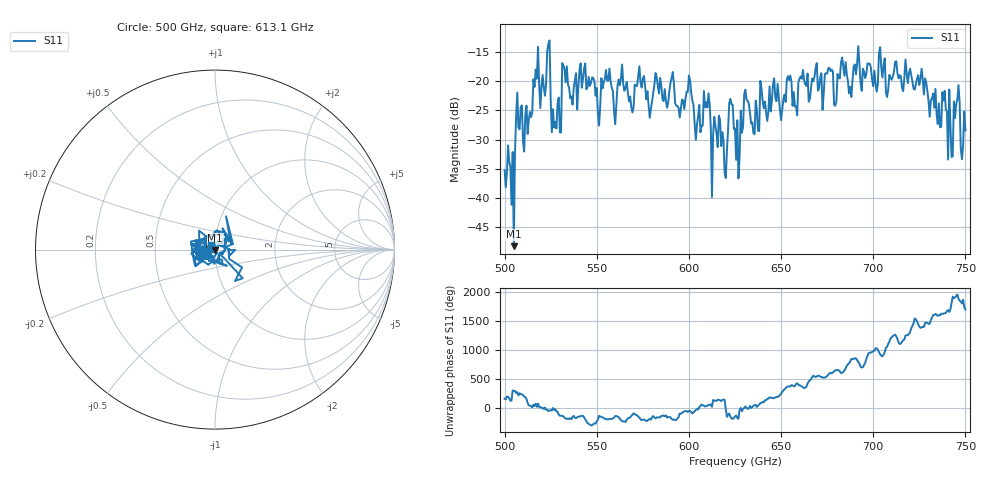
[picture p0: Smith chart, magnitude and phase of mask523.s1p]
!Created with skrf (http://scikit-rf.org).
# GHz S MA R 50.0
!freq magS11 angS11
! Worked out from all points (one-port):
!   401 points, 500 GHz to 750 GHz, reference 50 ohm
!   lowest |S11| = -48.2 dB at 505 GHz (marker M1), VSWR 1.01, Z = 50.1 - j0.361 ohm
!   |S11| at or under -10 dB: start of sweep to end of sweep
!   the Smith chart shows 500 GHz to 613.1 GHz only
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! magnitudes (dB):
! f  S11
! 500 GHz  -35.2
! 505 GHz  -48.2
! 507.5 GHz  -27.9
! 513.8 GHz  -25.3
! 516.9 GHz  -18.0
! 523.8 GHz  -13.7
! 526.9 GHz  -27.9
! 531.2 GHz  -17.0
! 542.5 GHz  -19.7
! 550.6 GHz  -25.6
! 555.6 GHz  -19.9
! 559.4 GHz  -25.1
! 562.5 GHz  -20.7
! 568.8 GHz  -24.5
! 590.6 GHz  -19.5
! 593.8 GHz  -24.3
! 609.4 GHz  -23.6
! 619.4 GHz  -35.7
! 622.5 GHz  -23.0
! 625 GHz  -28.1
! 628.1 GHz  -25.1
! 631.2 GHz  -23.2
! 634.4 GHz  -27.1
! 656.2 GHz  -24.3
! 683.8 GHz  -17.5
! 687.5 GHz  -21.0
! 718.8 GHz  -20.4
! 750 GHz  -28.4
